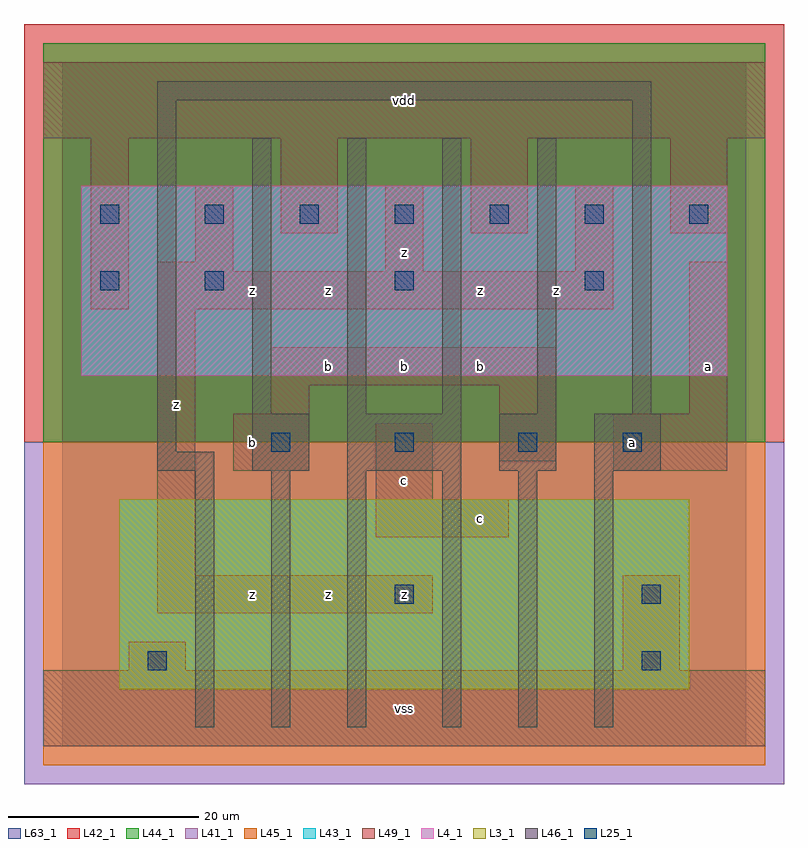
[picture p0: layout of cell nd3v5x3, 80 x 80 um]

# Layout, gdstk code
import gdstk
lib = gdstk.Library(unit=1e-6, precision=1e-09)
def R(c, l, rs):  # rectangles x0, y0, x1, y1
    for r in rs: c.add(gdstk.rectangle(r[:2], r[2:], *l))
def A(c, l, x, y, w, h, nx, ny, dx, dy):  # array of equal rectangles
    R(c, l, [(x+i*dx, y+j*dy, x+i*dx+w, y+j*dy+h) for i in range(nx) for j in range(ny)])
L3_1 = (3, 1)
L4_1 = (4, 1)
L25_1 = (25, 1)
L41_1 = (41, 1)
L42_1 = (42, 1)
L43_1 = (43, 1)
L44_1 = (44, 1)
L45_1 = (45, 1)
L46_1 = (46, 1)
L49_1 = (49, 1)
L63_1 = (63, 1)

nd3v5x3 = lib.new_cell('nd3v5x3')
R(nd3v5x3, L3_1, [(6,6,66,26)])
R(nd3v5x3, L4_1, [(2,39,70,59)])
A(nd3v5x3, L25_1, 22, 31, 2, 2, 3, 1, 13, 0)
A(nd3v5x3, L25_1, 15, 48, 2, 2, 3, 1, 20, 0)
A(nd3v5x3, L25_1, 15, 55, 2, 2, 5, 1, 10, 0)
R(nd3v5x3, L25_1, [(9,8,11,10), (61,8,63,10), (35,15,37,17), (61,15,63,17), (59,31,61,33), (4,48,6,50), (4,55,6,57), (66,55,68,57)])
R(nd3v5x3, L41_1, [(-4,-4,76,32)])
R(nd3v5x3, L42_1, [(-4,32,76,76)])
R(nd3v5x3, L43_1, [(6,6,66,26), (2,39,70,59)])
R(nd3v5x3, L44_1, [(-2,32,74,74)])
R(nd3v5x3, L45_1, [(-2,-2,74,32)])
A(nd3v5x3, L46_1, 14, 2, 2, 27, 3, 1, 8, 0)
A(nd3v5x3, L46_1, 40, 2, 2, 27, 3, 1, 8, 0)
A(nd3v5x3, L46_1, 20, 35, 2, 29, 4, 1, 10, 0)
R(nd3v5x3, L46_1, [(10,29,16,31), (20,29,26,35), (30,29,42,35), (46,29,52,35), (56,29,63,35), (10,31,12,68), (60,35,62,68), (10,68,62,70)])
R(nd3v5x3, L49_1, [(-2,0,74,8), (7,8,13,11), (59,8,65,18), (10,14,39,18), (10,18,14,46), (33,22,47,26), (33,26,39,34), (18,29,26,35), (58,29,70,35), (46,30,52,38), (22,35,26,38), (66,35,70,51), (22,38,52,42), (3,46,7,64), (10,46,58,50), (10,50,18,51), (34,50,38,59), (54,50,58,59), (14,51,18,59), (23,54,29,64), (43,54,49,64), (64,54,70,64), (-2,64,74,72)])
R(nd3v5x3, L63_1, [(0,0,72,72)])
nd3v5x3.add(gdstk.Label('z', (20,16), layer=49, texttype=1))
nd3v5x3.add(gdstk.Label('b', (20,32), layer=49, texttype=1))
nd3v5x3.add(gdstk.Label('z', (12,36), layer=49, texttype=1))
nd3v5x3.add(gdstk.Label('z', (20,48), layer=49, texttype=1))
nd3v5x3.add(gdstk.Label('vss', (36,4), layer=49, texttype=1))
nd3v5x3.add(gdstk.Label('z', (36,16), layer=49, texttype=1))
nd3v5x3.add(gdstk.Label('z', (28,16), layer=49, texttype=1))
nd3v5x3.add(gdstk.Label('c', (36,28), layer=49, texttype=1))
nd3v5x3.add(gdstk.Label('b', (28,40), layer=49, texttype=1))
nd3v5x3.add(gdstk.Label('b', (36,40), layer=49, texttype=1))
nd3v5x3.add(gdstk.Label('z', (28,48), layer=49, texttype=1))
nd3v5x3.add(gdstk.Label('z', (36,52), layer=49, texttype=1))
nd3v5x3.add(gdstk.Label('vdd', (36,68), layer=49, texttype=1))
nd3v5x3.add(gdstk.Label('c', (44,24), layer=49, texttype=1))
nd3v5x3.add(gdstk.Label('b', (44,40), layer=49, texttype=1))
nd3v5x3.add(gdstk.Label('z', (44,48), layer=49, texttype=1))
nd3v5x3.add(gdstk.Label('z', (52,48), layer=49, texttype=1))
nd3v5x3.add(gdstk.Label('a', (60,32), layer=49, texttype=1))
nd3v5x3.add(gdstk.Label('a', (68,40), layer=49, texttype=1))

lib.write_gds('nd3v5x3.gds')
